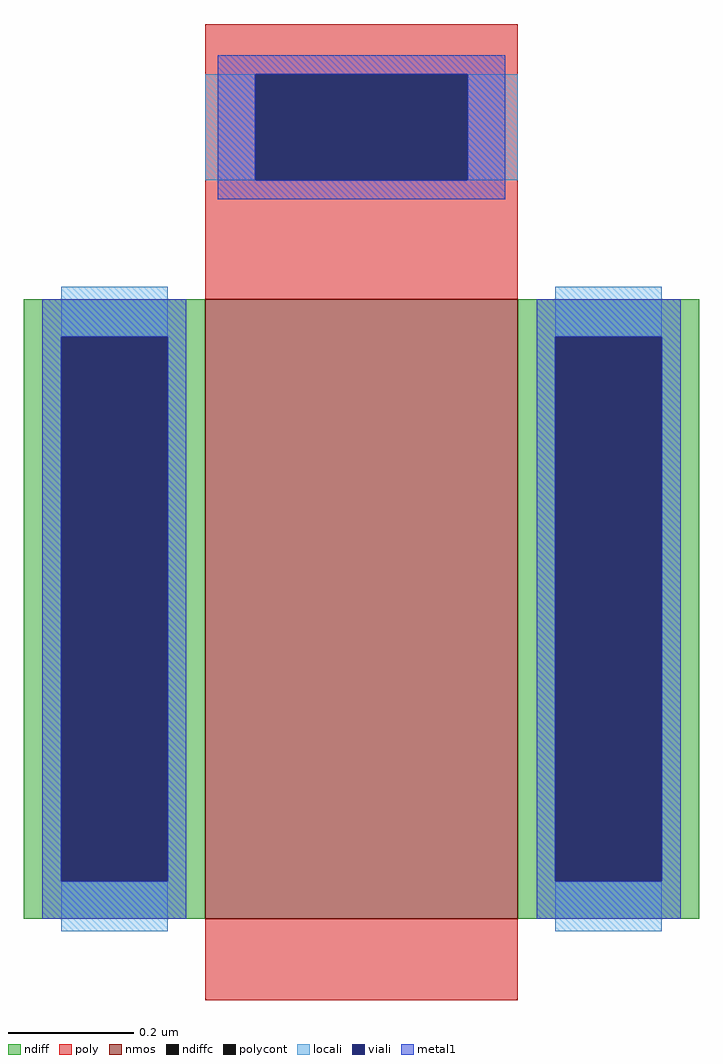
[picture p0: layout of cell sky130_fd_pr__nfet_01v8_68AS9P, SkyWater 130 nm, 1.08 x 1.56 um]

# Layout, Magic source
magic
tech sky130A
<< nmos >>
rect -25 -65 25 34
<< ndiff >>
rect -54 28 -25 34
rect -54 -59 -48 28
rect -31 -59 -25 28
rect -54 -65 -25 -59
rect 25 28 54 34
rect 25 -59 31 28
rect 48 -59 54 28
rect 25 -65 54 -59
<< ndiffc >>
rect -48 -59 -31 28
rect 31 -59 48 28
<< poly >>
rect -25 70 25 78
rect -25 53 -17 70
rect 17 53 25 70
rect -25 34 25 53
rect -25 -78 25 -65
<< polycont >>
rect -17 53 17 70
<< locali >>
rect -25 53 -17 70
rect 17 53 25 70
rect -48 28 -31 36
rect -48 -67 -31 -59
rect 31 28 48 36
rect 31 -67 48 -59
<< viali >>
rect -17 53 17 70
rect -48 -59 -31 28
rect 31 -59 48 28
<< metal1 >>
rect -23 70 23 73
rect -23 53 -17 70
rect 17 53 23 70
rect -23 50 23 53
rect -51 28 -28 34
rect -51 -59 -48 28
rect -31 -59 -28 28
rect -51 -65 -28 -59
rect 28 28 51 34
rect 28 -59 31 28
rect 48 -59 51 28
rect 28 -65 51 -59
<< properties >>
string gencell sky130_fd_pr__nfet_01v8
string library sky130
string parameters w 1.0 l 0.5 m 1 nf 1 diffcov 100 polycov 100 guard 0 glc 1 grc 1 gtc 1 gbc 1 tbcov 100 rlcov 100 topc 1 botc 0 poverlap 0 doverlap 1 lmin 0.15 wmin 0.42 class mosfet compatible {sky130_fd_pr__nfet_01v8 sky130_fd_pr__nfet_01v8_lvt  sky130_fd_bs_flash__special_sonosfet_star  sky130_fd_pr__nfet_g5v0d10v5 sky130_fd_pr__nfet_05v0_nvt  sky130_fd_pr__nfet_03v3_nvt} full_metal 1 viasrc 100 viadrn 100 viagate 100 viagb 0 viagr 0 viagl 0 viagt 0
<< end >>
